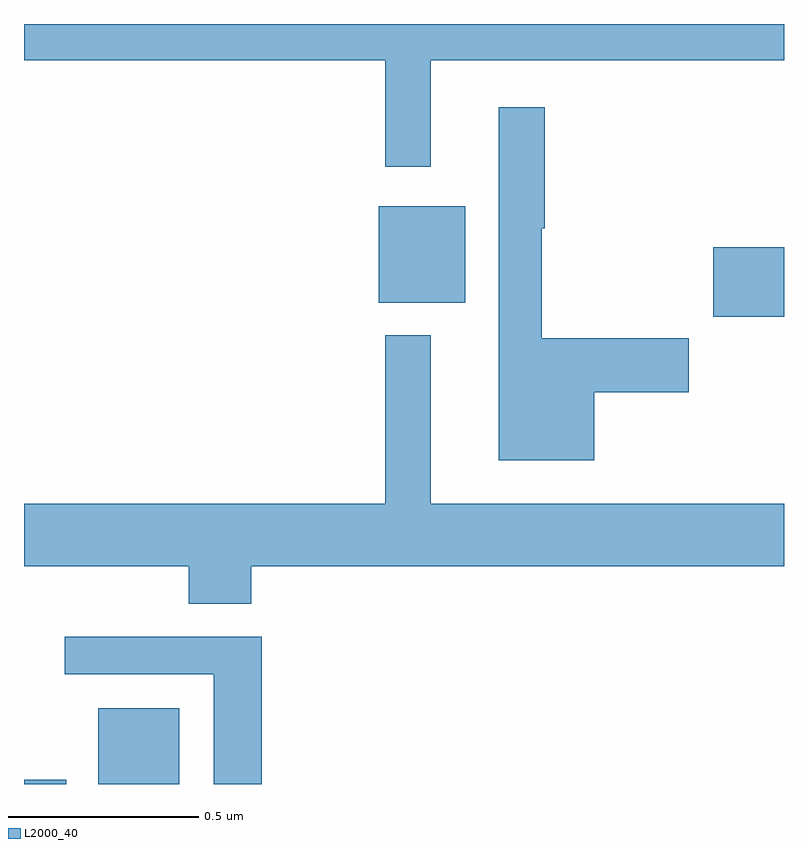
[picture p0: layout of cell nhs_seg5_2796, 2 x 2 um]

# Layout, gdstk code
import gdstk
lib = gdstk.Library(unit=1e-6, precision=1e-09)
def R(c, l, rs):  # rectangles x0, y0, x1, y1
    for r in rs: c.add(gdstk.rectangle(r[:2], r[2:], *l))
def P(c, l, *ps):  # polygons
    for p in ps: c.add(gdstk.Polygon(p, *l))
L2000_40 = (2000, 40)

nhs_seg5_2796 = lib.new_cell('nhs_seg5_2796')
R(nhs_seg5_2796, L2000_40, [(148,910.799,148.111,910.81), (148.196,910.799,148.408,910.999), (149.814,912.029,150,912.212), (148.934,912.065,149.161,912.319)])
P(nhs_seg5_2796, L2000_40, [(149.071,912.704),(150,912.704),(150,912.799),(148,912.799),(148,912.704),(148.95,912.704),(148.95,912.423),(149.071,912.423)],
  [(149.5,911.83),(149.749,911.83),(149.749,911.972),(149.363,911.972),(149.363,912.261),(149.371,912.261),(149.371,912.58),(149.249,912.58),(149.249,911.651),(149.5,911.651)],
  [(148.598,911.372),(150,911.372),(150,911.536),(149.071,911.536),(149.071,911.98),(148.95,911.98),(148.95,911.536),(148,911.536),(148,911.372),(148.433,911.372),(148.433,911.273),(148.598,911.273)],
  [(148.625,911.186),(148.107,911.186),(148.107,911.088),(148.499,911.088),(148.499,910.799),(148.625,910.799)])

lib.write_gds('nhs_seg5_2796.gds')
